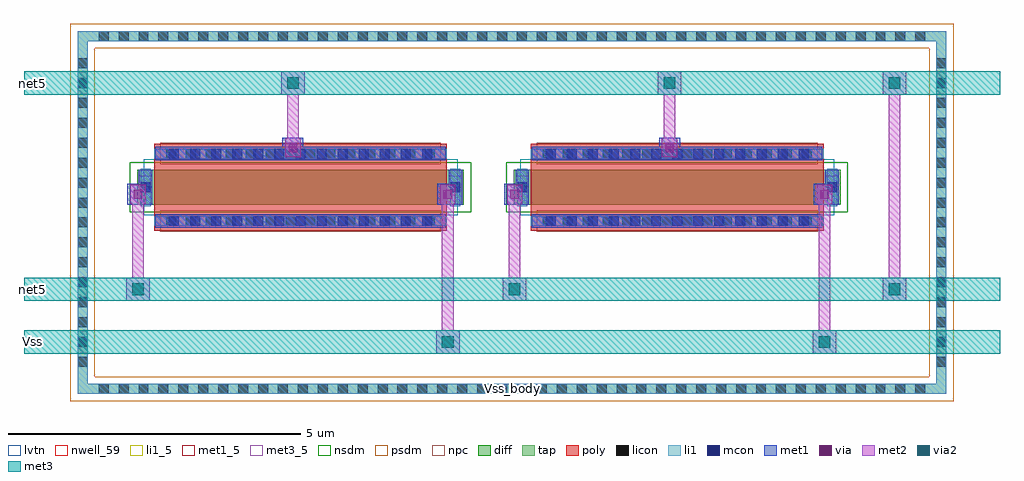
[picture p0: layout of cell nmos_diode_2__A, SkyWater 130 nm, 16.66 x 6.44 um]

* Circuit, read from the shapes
.subckt nmos_diode_2__A Vss Vss_body net5
XM1 Vss net5 net5 Vss_body sky130_fd_pr__nfet_01v8_lvt w=0.6 l=5 m=2
.ends

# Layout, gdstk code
import gdstk
lib = gdstk.Library(unit=1e-6, precision=1e-09)
def R(c, l, rs):  # rectangles x0, y0, x1, y1
    for r in rs: c.add(gdstk.rectangle(r[:2], r[2:], *l))
def A(c, l, x, y, w, h, nx, ny, dx, dy):  # array of equal rectangles
    R(c, l, [(x+i*dx, y+j*dy, x+i*dx+w, y+j*dy+h) for i in range(nx) for j in range(ny)])
nwell_59 = (64, 59)
diff = (65, 20)
tap = (65, 44)
poly = (66, 20)
licon = (66, 44)
li1_5 = (67, 5)
li1 = (67, 20)
mcon = (67, 44)
met1_5 = (68, 5)
met1 = (68, 20)
via = (68, 44)
met2 = (69, 20)
via2 = (69, 44)
met3_5 = (70, 5)
met3 = (70, 20)
nsdm = (93, 44)
psdm = (94, 20)
npc = (95, 20)
lvtn = (125, 44)

sky130_fd_pr__nfet_01v8_ = lib.new_cell('sky130_fd_pr__nfet_01v8_lvt_E98VH6')
R(sky130_fd_pr__nfet_01v8_, diff, [(-2.79,-0.3,2.79,0.3)])
R(sky130_fd_pr__nfet_01v8_, poly, [(-2.5,-0.74,2.5,0.74)])
A(sky130_fd_pr__nfet_01v8_, licon, -2.295, -0.66, 0.17, 0.17, 14, 2, 0.34, 1.15)
R(sky130_fd_pr__nfet_01v8_, licon, [(-2.73,-0.085,-2.56,0.085), (2.56,-0.085,2.73,0.085)])
R(sky130_fd_pr__nfet_01v8_, li1, [(-2.5,-0.66,2.5,-0.49), (-2.73,-0.32,-2.56,0.32), (2.56,-0.32,2.73,0.32), (-2.5,0.49,2.5,0.66)])
A(sky130_fd_pr__nfet_01v8_, mcon, -2.245, -0.66, 0.17, 0.17, 13, 2, 0.36, 1.15)
R(sky130_fd_pr__nfet_01v8_, mcon, [(-2.73,-0.085,-2.56,0.085), (2.56,-0.085,2.73,0.085)])
R(sky130_fd_pr__nfet_01v8_, met1, [(-2.48,-0.69,2.48,-0.46), (-2.76,-0.3,-2.53,0.3), (2.53,-0.3,2.76,0.3), (-2.48,0.46,2.48,0.69)])
R(sky130_fd_pr__nfet_01v8_, nsdm, [(-2.915,-0.425,2.915,0.425)])
R(sky130_fd_pr__nfet_01v8_, npc, [(-2.395,-0.76,2.395,-0.39), (-2.395,0.39,2.395,0.76)])
R(sky130_fd_pr__nfet_01v8_, lvtn, [(-2.68,-0.48,2.68,0.48)])
sky130_fd_pr__nfet_01v8_.add(gdstk.Label('D', (-2.645,0), layer=67, texttype=5))
sky130_fd_pr__nfet_01v8_.add(gdstk.Label('S', (2.645,0), layer=67, texttype=5))
sky130_fd_pr__nfet_01v8_.add(gdstk.Label('G', (0,0.575), layer=67, texttype=5))

nfet_01v8_lvt_w0p6_l5_m2 = lib.new_cell('nfet_01v8_lvt_W0p6_L5_m2__nf1_gboth_sdfull_ng')
R(nfet_01v8_lvt_w0p6_l5_m2, nwell_59, [(0.05,0.69,0.15,0.79)])
R(nfet_01v8_lvt_w0p6_l5_m2, met1_5, [(0.03,0.74,0.26,0.94), (5.32,0.74,5.55,0.94), (0.31,1.2,5.27,1.43)])
R(nfet_01v8_lvt_w0p6_l5_m2, met1, [(0.03,0.74,0.26,0.94), (5.32,0.74,5.55,0.94), (0.31,1.2,5.27,1.43)])
nfet_01v8_lvt_w0p6_l5_m2.add(gdstk.Reference(sky130_fd_pr__nfet_01v8_, (2.79,0.74)))
nfet_01v8_lvt_w0p6_l5_m2.add(gdstk.Label('D', (0.145,0.84), layer=68, texttype=5))
nfet_01v8_lvt_w0p6_l5_m2.add(gdstk.Label('S', (5.435,0.84), layer=68, texttype=5))
nfet_01v8_lvt_w0p6_l5_m2.add(gdstk.Label('G', (2.79,1.315), layer=68, texttype=5))
nfet_01v8_lvt_w0p6_l5_m2.add(gdstk.Label('B', (0.1,0.74), layer=64, texttype=59))

nmos_diode_2__a = lib.new_cell('nmos_diode_2__A')
R(nmos_diode_2__a, tap, [(-0.885,-2.785,13.945,-2.615), (-0.885,-2.615,-0.715,3.235), (13.775,-2.615,13.945,3.235), (-0.885,3.235,13.945,3.405)])
A(nmos_diode_2__a, licon, -0.525, -2.785, 0.17, 0.17, 42, 2, 0.34, 6.02)
A(nmos_diode_2__a, licon, -0.885, -2.325, 0.17, 0.17, 1, 16, 0, 0.34)
A(nmos_diode_2__a, licon, 13.775, -2.325, 0.17, 0.17, 1, 16, 0, 0.34)
R(nmos_diode_2__a, li1_5, [(6.48,-2.75,6.58,-2.65)])
R(nmos_diode_2__a, li1, [(-0.885,-2.785,13.945,-2.615), (-0.885,-2.615,-0.715,3.235), (13.775,-2.615,13.945,3.235), (-0.885,3.235,13.945,3.405)])
R(nmos_diode_2__a, met1, [(-0.035,0.44,0.325,0.8), (5.255,0.44,5.615,0.8), (6.395,0.44,6.755,0.8), (11.685,0.44,12.045,0.8), (2.61,1.23,2.97,1.59), (9.04,1.23,9.4,1.59)])
R(nmos_diode_2__a, via, [(0.07,0.545,0.22,0.695), (5.36,0.545,5.51,0.695), (6.5,0.545,6.65,0.695), (11.79,0.545,11.94,0.695), (2.715,1.335,2.865,1.485), (9.145,1.335,9.295,1.485)])
R(nmos_diode_2__a, met2, [(5.235,-2.1,5.635,-1.7), (11.665,-2.1,12.065,-1.7), (5.335,-1.7,5.535,0.46), (11.765,-1.7,11.965,0.46), (-0.055,-1.2,0.345,-0.8), (6.375,-1.2,6.775,-0.8), (12.86,-1.2,13.26,-0.8), (0.045,-0.8,0.245,0.46), (6.475,-0.8,6.675,0.46), (12.96,-0.8,13.16,2.32), (0.015,0.46,0.275,0.78), (5.305,0.46,5.565,0.78), (6.445,0.46,6.705,0.78), (11.735,0.46,11.995,0.78), (2.66,1.25,2.92,1.57), (9.09,1.25,9.35,1.57), (2.69,1.57,2.89,2.32), (9.12,1.57,9.32,2.32), (2.59,2.32,2.99,2.72), (9.02,2.32,9.42,2.72), (12.86,2.32,13.26,2.72)])
R(nmos_diode_2__a, via2, [(5.335,-2,5.535,-1.8), (11.765,-2,11.965,-1.8), (0.045,-1.1,0.245,-0.9), (6.475,-1.1,6.675,-0.9), (12.96,-1.1,13.16,-0.9), (2.69,2.42,2.89,2.62), (9.12,2.42,9.32,2.62), (12.96,2.42,13.16,2.62)])
R(nmos_diode_2__a, met3_5, [(-1.7,-1.95,-1.6,-1.85), (-1.7,-1.05,-1.6,-0.95), (-1.7,2.47,-1.6,2.57)])
R(nmos_diode_2__a, met3, [(-1.8,-2.1,14.86,-1.7), (-1.8,-1.2,14.86,-0.8), (-1.8,2.32,14.86,2.72)])
R(nmos_diode_2__a, psdm, [(-1.01,-2.91,14.07,-2.49), (-1.01,-2.49,-0.59,3.11), (13.65,-2.49,14.07,3.11), (-1.01,3.11,14.07,3.53)])
nmos_diode_2__a.add(gdstk.Reference(nfet_01v8_lvt_w0p6_l5_m2, (6.56,0)))
nmos_diode_2__a.add(gdstk.Reference(nfet_01v8_lvt_w0p6_l5_m2, (0.13,0)))
nmos_diode_2__a.add(gdstk.Label('net5', (-1.65,2.52), layer=70, texttype=5))
nmos_diode_2__a.add(gdstk.Label('net5', (-1.65,-1), layer=70, texttype=5))
nmos_diode_2__a.add(gdstk.Label('Vss', (-1.65,-1.9), layer=70, texttype=5))
nmos_diode_2__a.add(gdstk.Label('Vss_body', (6.53,-2.7), layer=67, texttype=5))

lib.write_gds('nmos_diode_2__A.gds')
